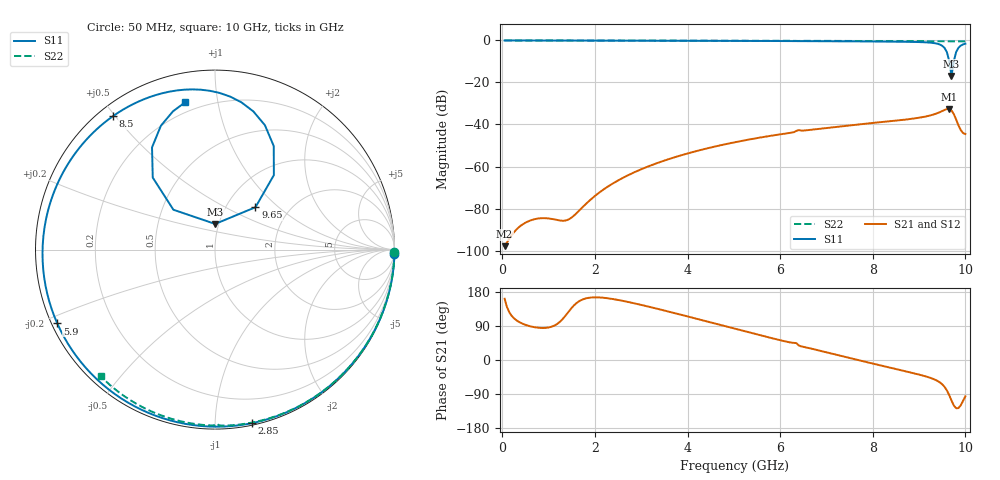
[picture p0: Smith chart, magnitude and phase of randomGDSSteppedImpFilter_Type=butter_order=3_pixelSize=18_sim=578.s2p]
! freq	dB(S11)	phase(S11)	dB(S12)	phase(S12)
!  dB(S21)	phase(S21)	dB(S22)	phase(S22)
!S-par simulation data
#  GHz  S  DB  R 50
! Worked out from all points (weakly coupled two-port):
!   200 points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, 50 MHz to 10 GHz, reference 50 ohm
!   highest |S21| = -32.59 dB at 9.65 GHz (marker M1); lowest = -97.9 dB at 50 MHz (marker M2)
!   lowest |S11| = -16.9 dB at 9.7 GHz (marker M3), VSWR 1.33, Z = 48.1 + j14 ohm
!   |S11| at or under -10 dB: 9.652 GHz to 9.749 GHz (97.1 MHz wide, 1 % of centre)
!   |S22| runs from -0.4 to 0.0 dB; largest |S21 - S12| = 0
!   S11 on the Smith chart (normalised r, x): 50 MHz: 0, -80; 2.85 GHz: 0.01, -1.23; 5.9 GHz: 0.02, -0.22; 8.5 GHz: 0.04, +0.49; 9.65 GHz: 1.36, +0.72; 10 GHz: 0.15, +0.81
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0.05  -0.00 -1.4  -97.91 161.8  -97.91 161.8  -0.00 -0.8
0.85  -0.03 -24.1  -84.59 84.5  -84.59 84.5  -0.01 -12.9
1.75  -0.06 -48.9  -78.99 160.5  -78.99 160.5  -0.03 -26.3
2.25  -0.08 -62.3  -69.98 163.3  -69.98 163.3  -0.04 -33.7
2.85  -0.10 -78.0  -62.76 149.6  -62.76 149.6  -0.06 -42.3
3.4  -0.12 -92.1  -57.93 133.6  -57.93 133.6  -0.07 -50.1
4.2  -0.16 -112.2  -52.60 108.7  -52.60 108.7  -0.09 -61.2
5.05  -0.20 -133.4  -48.32 81.8  -48.32 81.8  -0.11 -72.5
5.9  -0.26 -154.9  -45.01 55.2  -45.01 55.2  -0.14 -83.5
6.7  -0.33 -176.1  -42.42 29.2  -42.42 29.2  -0.18 -93.3
7.55  -0.43 159.3  -40.29 3.8  -40.29 3.8  -0.23 -103.6
8.35  -0.55 132.8  -38.51 -19.6  -38.51 -19.6  -0.29 -113.0
8.5  -0.58 127.3  -38.17 -23.9  -38.17 -23.9  -0.30 -114.8
9.05  -0.80 103.6  -36.59 -40.1  -36.59 -40.1  -0.35 -121.1
9.35  -1.34 84.3  -34.97 -52.3  -34.97 -52.3  -0.38 -124.5
9.55  -3.56 60.4  -33.08 -70.9  -33.08 -70.9  -0.39 -126.8
9.65  -9.72 46.3  -32.59 -92.5  -32.59 -92.5  -0.40 -128.0
9.7  -16.90 89.6  -33.31 -107.1  -33.31 -107.1  -0.41 -128.6
9.75  -9.87 136.2  -35.08 -120.0  -35.08 -120.0  -0.42 -129.1
9.8  -5.51 130.8  -37.61 -127.3  -37.61 -127.3  -0.42 -129.7
9.9  -2.46 113.6  -42.66 -119.5  -42.66 -119.5  -0.43 -130.8
10  -1.53 101.3  -44.53 -95.9  -44.53 -95.9  -0.45 -132.0
